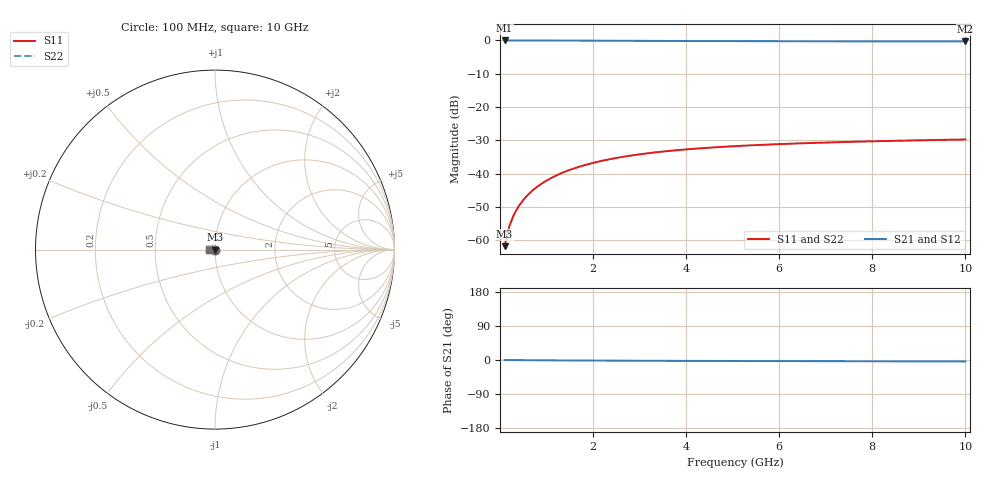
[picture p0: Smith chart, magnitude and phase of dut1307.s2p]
! Touchstone file exported from HFSS 2024.1.0
!  File:  C:/UserFiles/LocalFiles/RDL_TSV_Batchsim/temp_TSV1_1307_1780373012.aedt
!  Generated:  12:09:34 PM Jun  2, 2026
!  Design:  TSV1
!  Project:  temp_TSV1_1307_1780373012
!  Setup:  Setup1
!  Solution:  Sweep
! Variables:
!  dtsv = 8.35um
!  hbump = 3um
!  htsv = 58.99um
!  lrdl = 252.1521522um
!  p = 40
!  p1 = 41.15um
!  t = 500um
!  trdl = 3um
!  wrdl = 24.89489489um
# GHz S MA R 50.000000
! Terminal data exported
! Port[1] = TSV22_T1
! Port[2] = TSV22_T2
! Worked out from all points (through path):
!   100 points, 100 MHz to 10 GHz, reference 50 ohm
!   highest |S21| = 0.00 dB at 100 MHz (marker M1); lowest = -0.3 dB at 10 GHz (marker M2)
!   lowest |S11| = -61.7 dB at 100 MHz (marker M3), VSWR 1.00, Z = 50 - j0.0807 ohm
!   |S11| at or under -10 dB: start of sweep to end of sweep
!   |S22| runs from -61.7 to -29.7 dB; largest |S21 - S12| = 6.2e-15
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0.1  0.0008209 -79.2  0.9998 -0.1  0.9998 -0.1  0.0008209 -79.2
! Gamma 0 0 0 0
! Port Impedance 50 0 50 0
0.2  0.001628 -86.8  0.9997 -0.2  0.9997 -0.2  0.001628 -86.8
0.3  0.002437 -90.5  0.9996 -0.3  0.9996 -0.3  0.002437 -90.5
0.4  0.003242 -93.2  0.9994 -0.3  0.9994 -0.3  0.003242 -93.2
0.5  0.004041 -95.5  0.9992 -0.4  0.9992 -0.4  0.004041 -95.5
0.6  0.004833 -97.6  0.9989 -0.5  0.9989 -0.5  0.004833 -97.6
0.7  0.005616 -99.5  0.9986 -0.6  0.9986 -0.6  0.005616 -99.5
0.8  0.006388 -101.3  0.9983 -0.7  0.9983 -0.7  0.006388 -101.3
0.9  0.00715 -103.1  0.9979 -0.7  0.9979 -0.7  0.00715 -103.1
1.1  0.008635 -106.4  0.9971 -0.9  0.9971 -0.9  0.008635 -106.4
1.4  0.01076 -111.2  0.9956 -1.1  0.9956 -1.1  0.01076 -111.2
1.6  0.01209 -114.2  0.9945 -1.2  0.9945 -1.2  0.01209 -114.2
1.8  0.01336 -117.1  0.9934 -1.4  0.9934 -1.4  0.01336 -117.1
2.1  0.01514 -121.2  0.9916 -1.6  0.9916 -1.6  0.01514 -121.2
2.5  0.01727 -126.4  0.9892 -1.8  0.9892 -1.8  0.01727 -126.4
2.9  0.01915 -131.1  0.9868 -1.9  0.9868 -1.9  0.01915 -131.1
3.4  0.02118 -136.5  0.984 -2.1  0.984 -2.1  0.02118 -136.4
4.2  0.02381 -144.0  0.98 -2.4  0.98 -2.4  0.02381 -144.0
5.1  0.02608 -151.2  0.9763 -2.7  0.9763 -2.7  0.02608 -151.2
6.7  0.02898 -161.5  0.9715 -3.1  0.9715 -3.1  0.02898 -161.5
8.4  0.03115 -170.3  0.9679 -3.5  0.9679 -3.5  0.03115 -170.3
10  0.03273 -177.2  0.9656 -3.9  0.9656 -3.9  0.03273 -177.2
